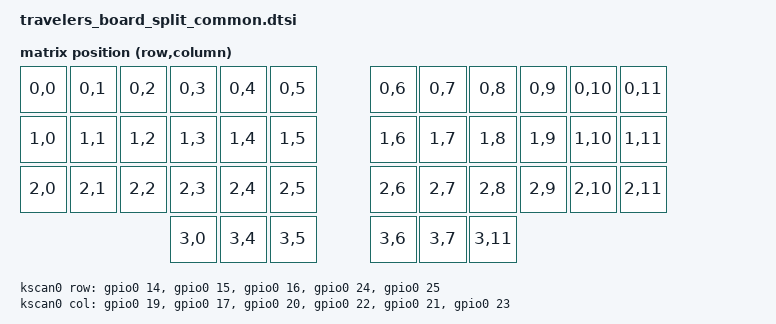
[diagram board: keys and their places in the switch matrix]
#include <nordic/nrf52840_qiaa.dtsi>
#include <dt-bindings/zmk/matrix_transform.h>

/ {
    chosen {
        zephyr,code-partition = &code_partition;
        zephyr,flash = &flash0;
        zephyr,sram = &sram0;
        zmk,kscan = &kscan0;
        zmk,matrix-transform = &default_transform;
        zmk,battery = &vbat;
    };

    default_transform: keymap_transform_0 {
        compatible = "zmk,matrix-transform";
        rows = <5>;
        columns = <12>;
        map = <
            RC(0,0) RC(0,1) RC(0,2) RC(0,3) RC(0,4) RC(0,5) RC(0,6) RC(0,7) RC(0,8) RC(0,9) RC(0,10) RC(0,11)
            RC(1,0) RC(1,1) RC(1,2) RC(1,3) RC(1,4) RC(1,5) RC(1,6) RC(1,7) RC(1,8) RC(1,9) RC(1,10) RC(1,11)
            RC(2,0) RC(2,1) RC(2,2) RC(2,3) RC(2,4) RC(2,5) RC(2,6) RC(2,7) RC(2,8) RC(2,9) RC(2,10) RC(2,11)
            RC(3,0)                         RC(3,4) RC(3,5) RC(3,6) RC(3,7)                          RC(3,11)
        >;
    };

    kscan0: kscan_0 {
        compatible = "zmk,kscan-gpio-matrix";
        row-gpios = <
            &gpio0 14 (GPIO_ACTIVE_HIGH | GPIO_PULL_DOWN)
            &gpio0 15 (GPIO_ACTIVE_HIGH | GPIO_PULL_DOWN)
            &gpio0 16 (GPIO_ACTIVE_HIGH | GPIO_PULL_DOWN)
            &gpio0 24 (GPIO_ACTIVE_HIGH | GPIO_PULL_DOWN)
            &gpio0 25 (GPIO_ACTIVE_HIGH | GPIO_PULL_DOWN)
        >;
        col-gpios = <
            &gpio0 19 GPIO_ACTIVE_HIGH
            &gpio0 17 GPIO_ACTIVE_HIGH
            &gpio0 20 GPIO_ACTIVE_HIGH
            &gpio0 22 GPIO_ACTIVE_HIGH
            &gpio0 21 GPIO_ACTIVE_HIGH
            &gpio0 23 GPIO_ACTIVE_HIGH
        >;
        diode-direction = "col2row";
    };

    vbat: battery {
        compatible = "zmk,power-gated-battery-voltage-divider";
        status = "okay";
        io-channels = <&adc 2>;
        /* 100 kOhm (VBAT_EN side) + 100 kOhm (GND side): VDD / 2. */
        output-ohms = <100000>;
        full-ohms = <200000>;
        power-gpios = <&gpio0 13 GPIO_ACTIVE_HIGH>;
        settle-delay-ms = <300>;
    };
};

&adc { status = "okay"; };
&gpiote { status = "okay"; };
&gpio0 { status = "okay"; };
&gpio1 { status = "okay"; };
&uart0 { status = "disabled"; };
&usbd { status = "okay"; };

&flash0 {
    partitions {
        compatible = "fixed-partitions";
        #address-cells = <1>;
        #size-cells = <1>;

        mbr_partition: partition@0 {
            label = "mbr";
            reg = <0x00000000 0x00001000>;
            read-only;
        };

        s140_partition: partition@1000 {
            label = "s140";
            reg = <0x00001000 0x00026000>;
            read-only;
        };

        code_partition: partition@27000 {
            label = "code";
            reg = <0x00027000 0x000ad000>;
        };

        storage_partition: partition@d4000 {
            label = "storage";
            reg = <0x000d4000 0x00020000>;
        };

        bootloader_partition: partition@f4000 {
            label = "bootloader";
            reg = <0x000f4000 0x0000c000>;
            read-only;
        };
    };
};
